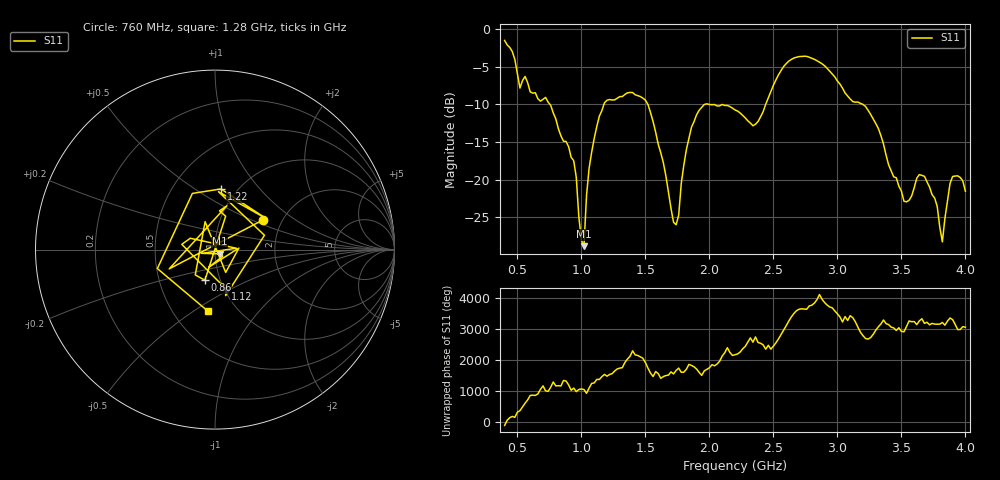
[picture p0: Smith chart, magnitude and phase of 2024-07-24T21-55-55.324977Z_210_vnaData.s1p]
!Created with skrf (http://scikit-rf.org).
# Hz S RI R 50.0
!freq ReS11 ImS11
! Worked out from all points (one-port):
!   181 points, 400 MHz to 4 GHz, reference 50 ohm
!   lowest |S11| = -28.9 dB at 1.02 GHz (marker M1), VSWR 1.07, Z = 52.8 - j2.49 ohm
!   |S11| at or under -10 dB: 1.519 GHz to 1.968 GHz (448.9 MHz wide, 25.7 % of centre); 1.992 GHz to 2.44 GHz (448.4 MHz wide, 20.2 % of centre); 3.197 GHz to end of sweep (the widest 3 of 4)
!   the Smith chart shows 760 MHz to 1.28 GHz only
!   S11 on the Smith chart (normalised r, x): 760 MHz: 1.59, +0.58; 860 MHz: 0.85, -0.30; 1.12 GHz: 1.02, -0.47; 1.22 GHz: 0.84, +0.64; 1.28 GHz: 0.74, -0.58
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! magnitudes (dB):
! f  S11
! 400 MHz  -1.5
! 520 MHz  -7.8
! 760 MHz  -10.1
! 860 MHz  -14.9
! 940 MHz  -17.5
! 1 GHz  -28.0
! 1.02 GHz  -28.9
! 1.06 GHz  -18.5
! 1.12 GHz  -13.0
! 1.22 GHz  -9.4
! 1.28 GHz  -9.2
! 1.3 GHz  -9.0
! 1.52 GHz  -10.0
! 1.72 GHz  -25.7
! 1.76 GHz  -24.8
! 1.82 GHz  -16.0
! 1.9 GHz  -11.4
! 2.2 GHz  -10.8
! 2.36 GHz  -12.7
! 2.66 GHz  -3.9
! 3.1 GHz  -9.3
! 3.26 GHz  -11.4
! 3.56 GHz  -22.8
! 3.68 GHz  -19.6
! 3.78 GHz  -23.6
! 3.82 GHz  -28.3
! 3.9 GHz  -19.6
! 4 GHz  -21.6
